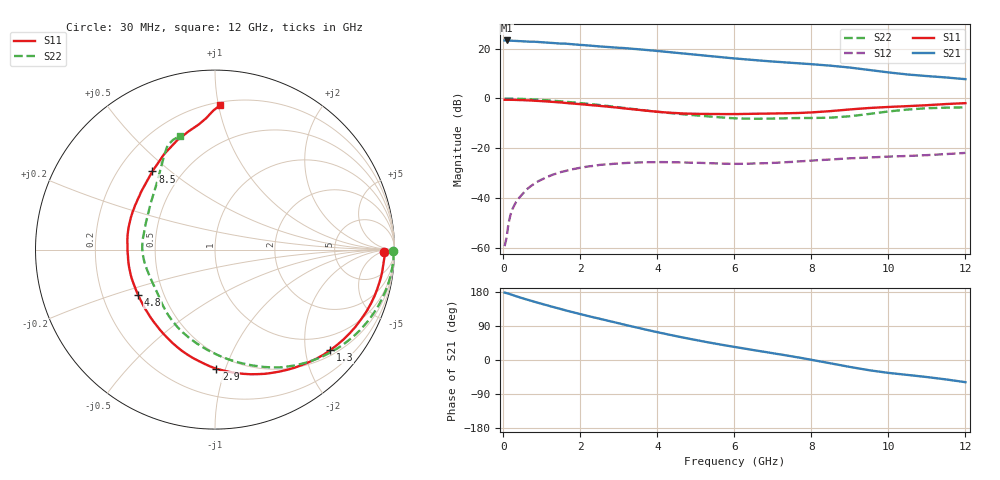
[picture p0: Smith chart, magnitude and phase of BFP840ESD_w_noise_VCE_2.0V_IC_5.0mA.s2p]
! Infineon Technologies  Discrete & RF Semiconductors
! BFP840ESD
! VCE =  2.0 V,  IC =  5.0 mA
! Common Emitter S-Parameters:  May 2012
# GHz  S  MA  R  50
!  f  S11  S21  S12  S22
! GHz  MAG  ANG  MAG  ANG  MAG  ANG  MAG  ANG
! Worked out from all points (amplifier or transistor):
!   93 points, 30 MHz to 12 GHz, reference 50 ohm
!   highest |S21| = 23.2 dB at 80 MHz (marker M1)
!   |S21| within 3 dB of that: start of sweep to 3.083 GHz
!   unconditionally stable (mu >= 1): 6.067 GHz to 10.11 GHz
!   at 1.1 GHz: K = 0.19, MSG = 27.1 dB, |S12| = -31.7 dB
!   at 4.2 GHz: K = 0.60, MSG = 22.1 dB, |S12| = -25.5 dB
!   at 12 GHz: K = 0.67, MSG = 14.8 dB, |S12| = -21.8 dB
!   lowest NFmin = 0.60 dB at 450 MHz
!   S11 on the Smith chart (normalised r, x): 30 MHz: 32, -8; 1.3 GHz: 0.62, -2.54; 2.9 GHz: 0.39, -0.93; 4.8 GHz: 0.36, -0.24; 8.5 GHz: 0.34, +0.43; 12 GHz: 0.22, +1.01
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0.03  0.9429 -0.9  14.51 177.9  0.0011 70.3  0.9945 -0.6
0.08  0.9449 -2.6  14.53 176.5  0.0016 84.7  0.9951 -2.0
0.18  0.9408 -5.8  14.39 173.4  0.0046 81.9  0.9937 -4.9
0.28  0.9378 -9.1  14.28 170.0  0.0072 80.8  0.9903 -7.7
0.5  0.9261 -16.1  14 162.9  0.0123 76.8  0.9777 -13.6
0.8  0.9017 -25.6  13.7 153.8  0.0196 70.1  0.9537 -21.5
1.3  0.8523 -41.1  12.89 139.6  0.0301 58.7  0.8993 -34.3
1.6  0.8159 -50.4  12.55 131.4  0.0351 52.6  0.8609 -41.7
2.1  0.7562 -65.3  11.7 118.5  0.0421 43.2  0.7941 -53.6
2.5  0.7101 -77.1  11.04 108.8  0.0467 36.0  0.738 -62.8
2.9  0.6639 -89.4  10.49 99.2  0.0494 30.0  0.6794 -71.9
3.1  0.637 -95.8  10.27 94.2  0.0506 27.0  0.6516 -76.5
3.5  0.593 -108.2  9.684 84.9  0.0523 22.0  0.5991 -86.2
4.1  0.5336 -127.6  8.79 71.2  0.0532 15.1  0.5321 -101.1
4.8  0.4972 -149.4  7.79 56.7  0.0519 9.3  0.4728 -117.7
5.4  0.4888 -166.0  7.024 45.1  0.0504 6.7  0.4324 -130.6
6.1  0.4874 178.2  6.255 32.9  0.049 7.0  0.3989 -145.6
7.5  0.5089 151.2  5.169 9.5  0.0536 8.6  0.4035 -176.5
8.5  0.5583 128.7  4.536 -8.8  0.06 6.4  0.4125 159.2
9.5  0.6447 109.0  3.724 -27.0  0.0657 1.8  0.4896 131.7
10.5  0.7023 97.5  3.023 -39.4  0.0705 -2.5  0.5998 118.0
12  0.8061 87.9  2.437 -58.5  0.0812 -8.2  0.664 106.9
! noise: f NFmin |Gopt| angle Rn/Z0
0.45  0.6  0.49  2  0.2
0.9  0.6  0.49  5  0.19
1.5  0.64  0.48  14  0.17
1.9  0.67  0.46  18  0.16
2.4  0.68  0.41  30  0.15
3.5  0.72  0.3  57  0.12
5.5  0.84  0.21  119  0.1
8  1.02  0.35  -145  0.07
10  1.19  0.5  -102  0.16
12  1.42  0.59  -79  0.26
